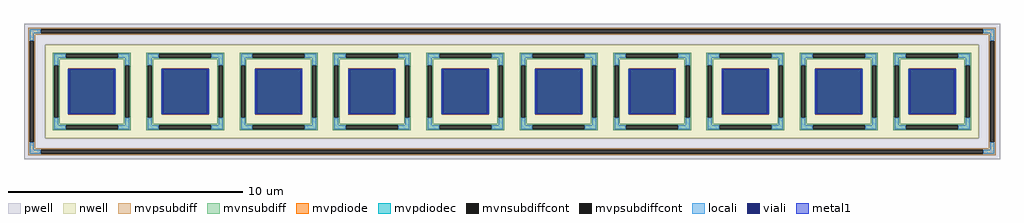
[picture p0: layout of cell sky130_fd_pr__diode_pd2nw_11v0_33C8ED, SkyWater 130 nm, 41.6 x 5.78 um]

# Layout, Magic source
magic
tech sky130A
<< nwell >>
rect -1990 -199 1990 199
<< pwell >>
rect -2080 199 2080 289
rect -2080 -199 -1990 199
rect 1990 -199 2080 199
rect -2080 -289 2080 -199
<< mvpsubdiff >>
rect -2062 265 2062 271
rect -2062 248 -2008 265
rect 2008 248 2062 265
rect -2062 242 2062 248
rect -2062 217 -2033 242
rect -2062 -217 -2056 217
rect -2039 -217 -2033 217
rect 2033 217 2062 242
rect -2062 -242 -2033 -217
rect 2033 -217 2039 217
rect 2056 -217 2062 217
rect 2033 -242 2062 -217
rect -2062 -248 2062 -242
rect -2062 -265 -2008 -248
rect 2008 -265 2062 -248
rect -2062 -271 2062 -265
<< mvnsubdiff >>
rect -1957 160 -1625 166
rect -1957 143 -1903 160
rect -1679 143 -1625 160
rect -1957 137 -1625 143
rect -1957 112 -1928 137
rect -1957 -112 -1951 112
rect -1934 -112 -1928 112
rect -1654 112 -1625 137
rect -1957 -137 -1928 -112
rect -1654 -112 -1648 112
rect -1631 -112 -1625 112
rect -1654 -137 -1625 -112
rect -1957 -143 -1625 -137
rect -1957 -160 -1903 -143
rect -1679 -160 -1625 -143
rect -1957 -166 -1625 -160
rect -1559 160 -1227 166
rect -1559 143 -1505 160
rect -1281 143 -1227 160
rect -1559 137 -1227 143
rect -1559 112 -1530 137
rect -1559 -112 -1553 112
rect -1536 -112 -1530 112
rect -1256 112 -1227 137
rect -1559 -137 -1530 -112
rect -1256 -112 -1250 112
rect -1233 -112 -1227 112
rect -1256 -137 -1227 -112
rect -1559 -143 -1227 -137
rect -1559 -160 -1505 -143
rect -1281 -160 -1227 -143
rect -1559 -166 -1227 -160
rect -1161 160 -829 166
rect -1161 143 -1107 160
rect -883 143 -829 160
rect -1161 137 -829 143
rect -1161 112 -1132 137
rect -1161 -112 -1155 112
rect -1138 -112 -1132 112
rect -858 112 -829 137
rect -1161 -137 -1132 -112
rect -858 -112 -852 112
rect -835 -112 -829 112
rect -858 -137 -829 -112
rect -1161 -143 -829 -137
rect -1161 -160 -1107 -143
rect -883 -160 -829 -143
rect -1161 -166 -829 -160
rect -763 160 -431 166
rect -763 143 -709 160
rect -485 143 -431 160
rect -763 137 -431 143
rect -763 112 -734 137
rect -763 -112 -757 112
rect -740 -112 -734 112
rect -460 112 -431 137
rect -763 -137 -734 -112
rect -460 -112 -454 112
rect -437 -112 -431 112
rect -460 -137 -431 -112
rect -763 -143 -431 -137
rect -763 -160 -709 -143
rect -485 -160 -431 -143
rect -763 -166 -431 -160
rect -365 160 -33 166
rect -365 143 -311 160
rect -87 143 -33 160
rect -365 137 -33 143
rect -365 112 -336 137
rect -365 -112 -359 112
rect -342 -112 -336 112
rect -62 112 -33 137
rect -365 -137 -336 -112
rect -62 -112 -56 112
rect -39 -112 -33 112
rect -62 -137 -33 -112
rect -365 -143 -33 -137
rect -365 -160 -311 -143
rect -87 -160 -33 -143
rect -365 -166 -33 -160
rect 33 160 365 166
rect 33 143 87 160
rect 311 143 365 160
rect 33 137 365 143
rect 33 112 62 137
rect 33 -112 39 112
rect 56 -112 62 112
rect 336 112 365 137
rect 33 -137 62 -112
rect 336 -112 342 112
rect 359 -112 365 112
rect 336 -137 365 -112
rect 33 -143 365 -137
rect 33 -160 87 -143
rect 311 -160 365 -143
rect 33 -166 365 -160
rect 431 160 763 166
rect 431 143 485 160
rect 709 143 763 160
rect 431 137 763 143
rect 431 112 460 137
rect 431 -112 437 112
rect 454 -112 460 112
rect 734 112 763 137
rect 431 -137 460 -112
rect 734 -112 740 112
rect 757 -112 763 112
rect 734 -137 763 -112
rect 431 -143 763 -137
rect 431 -160 485 -143
rect 709 -160 763 -143
rect 431 -166 763 -160
rect 829 160 1161 166
rect 829 143 883 160
rect 1107 143 1161 160
rect 829 137 1161 143
rect 829 112 858 137
rect 829 -112 835 112
rect 852 -112 858 112
rect 1132 112 1161 137
rect 829 -137 858 -112
rect 1132 -112 1138 112
rect 1155 -112 1161 112
rect 1132 -137 1161 -112
rect 829 -143 1161 -137
rect 829 -160 883 -143
rect 1107 -160 1161 -143
rect 829 -166 1161 -160
rect 1227 160 1559 166
rect 1227 143 1281 160
rect 1505 143 1559 160
rect 1227 137 1559 143
rect 1227 112 1256 137
rect 1227 -112 1233 112
rect 1250 -112 1256 112
rect 1530 112 1559 137
rect 1227 -137 1256 -112
rect 1530 -112 1536 112
rect 1553 -112 1559 112
rect 1530 -137 1559 -112
rect 1227 -143 1559 -137
rect 1227 -160 1281 -143
rect 1505 -160 1559 -143
rect 1227 -166 1559 -160
rect 1625 160 1957 166
rect 1625 143 1679 160
rect 1903 143 1957 160
rect 1625 137 1957 143
rect 1625 112 1654 137
rect 1625 -112 1631 112
rect 1648 -112 1654 112
rect 1928 112 1957 137
rect 1625 -137 1654 -112
rect 1928 -112 1934 112
rect 1951 -112 1957 112
rect 1928 -137 1957 -112
rect 1625 -143 1957 -137
rect 1625 -160 1679 -143
rect 1903 -160 1957 -143
rect 1625 -166 1957 -160
<< mvpsubdiffcont >>
rect -2008 248 2008 265
rect -2056 -217 -2039 217
rect 2039 -217 2056 217
rect -2008 -265 2008 -248
<< mvnsubdiffcont >>
rect -1903 143 -1679 160
rect -1951 -112 -1934 112
rect -1648 -112 -1631 112
rect -1903 -160 -1679 -143
rect -1505 143 -1281 160
rect -1553 -112 -1536 112
rect -1250 -112 -1233 112
rect -1505 -160 -1281 -143
rect -1107 143 -883 160
rect -1155 -112 -1138 112
rect -852 -112 -835 112
rect -1107 -160 -883 -143
rect -709 143 -485 160
rect -757 -112 -740 112
rect -454 -112 -437 112
rect -709 -160 -485 -143
rect -311 143 -87 160
rect -359 -112 -342 112
rect -56 -112 -39 112
rect -311 -160 -87 -143
rect 87 143 311 160
rect 39 -112 56 112
rect 342 -112 359 112
rect 87 -160 311 -143
rect 485 143 709 160
rect 437 -112 454 112
rect 740 -112 757 112
rect 485 -160 709 -143
rect 883 143 1107 160
rect 835 -112 852 112
rect 1138 -112 1155 112
rect 883 -160 1107 -143
rect 1281 143 1505 160
rect 1233 -112 1250 112
rect 1536 -112 1553 112
rect 1281 -160 1505 -143
rect 1679 143 1903 160
rect 1631 -112 1648 112
rect 1934 -112 1951 112
rect 1679 -160 1903 -143
<< mvpdiode >>
rect -1891 94 -1691 100
rect -1891 -94 -1885 94
rect -1697 -94 -1691 94
rect -1891 -100 -1691 -94
rect -1493 94 -1293 100
rect -1493 -94 -1487 94
rect -1299 -94 -1293 94
rect -1493 -100 -1293 -94
rect -1095 94 -895 100
rect -1095 -94 -1089 94
rect -901 -94 -895 94
rect -1095 -100 -895 -94
rect -697 94 -497 100
rect -697 -94 -691 94
rect -503 -94 -497 94
rect -697 -100 -497 -94
rect -299 94 -99 100
rect -299 -94 -293 94
rect -105 -94 -99 94
rect -299 -100 -99 -94
rect 99 94 299 100
rect 99 -94 105 94
rect 293 -94 299 94
rect 99 -100 299 -94
rect 497 94 697 100
rect 497 -94 503 94
rect 691 -94 697 94
rect 497 -100 697 -94
rect 895 94 1095 100
rect 895 -94 901 94
rect 1089 -94 1095 94
rect 895 -100 1095 -94
rect 1293 94 1493 100
rect 1293 -94 1299 94
rect 1487 -94 1493 94
rect 1293 -100 1493 -94
rect 1691 94 1891 100
rect 1691 -94 1697 94
rect 1885 -94 1891 94
rect 1691 -100 1891 -94
<< mvpdiodec >>
rect -1885 -94 -1697 94
rect -1487 -94 -1299 94
rect -1089 -94 -901 94
rect -691 -94 -503 94
rect -293 -94 -105 94
rect 105 -94 293 94
rect 503 -94 691 94
rect 901 -94 1089 94
rect 1299 -94 1487 94
rect 1697 -94 1885 94
<< locali >>
rect -2056 248 -2008 265
rect 2008 248 2056 265
rect -2056 217 -2039 248
rect 2039 217 2056 248
rect -1951 143 -1903 160
rect -1679 143 -1631 160
rect -1951 112 -1934 143
rect -1648 112 -1631 143
rect -1893 -94 -1885 94
rect -1697 -94 -1689 94
rect -1951 -143 -1934 -112
rect -1648 -143 -1631 -112
rect -1951 -160 -1903 -143
rect -1679 -160 -1631 -143
rect -1553 143 -1505 160
rect -1281 143 -1233 160
rect -1553 112 -1536 143
rect -1250 112 -1233 143
rect -1495 -94 -1487 94
rect -1299 -94 -1291 94
rect -1553 -143 -1536 -112
rect -1250 -143 -1233 -112
rect -1553 -160 -1505 -143
rect -1281 -160 -1233 -143
rect -1155 143 -1107 160
rect -883 143 -835 160
rect -1155 112 -1138 143
rect -852 112 -835 143
rect -1097 -94 -1089 94
rect -901 -94 -893 94
rect -1155 -143 -1138 -112
rect -852 -143 -835 -112
rect -1155 -160 -1107 -143
rect -883 -160 -835 -143
rect -757 143 -709 160
rect -485 143 -437 160
rect -757 112 -740 143
rect -454 112 -437 143
rect -699 -94 -691 94
rect -503 -94 -495 94
rect -757 -143 -740 -112
rect -454 -143 -437 -112
rect -757 -160 -709 -143
rect -485 -160 -437 -143
rect -359 143 -311 160
rect -87 143 -39 160
rect -359 112 -342 143
rect -56 112 -39 143
rect -301 -94 -293 94
rect -105 -94 -97 94
rect -359 -143 -342 -112
rect -56 -143 -39 -112
rect -359 -160 -311 -143
rect -87 -160 -39 -143
rect 39 143 87 160
rect 311 143 359 160
rect 39 112 56 143
rect 342 112 359 143
rect 97 -94 105 94
rect 293 -94 301 94
rect 39 -143 56 -112
rect 342 -143 359 -112
rect 39 -160 87 -143
rect 311 -160 359 -143
rect 437 143 485 160
rect 709 143 757 160
rect 437 112 454 143
rect 740 112 757 143
rect 495 -94 503 94
rect 691 -94 699 94
rect 437 -143 454 -112
rect 740 -143 757 -112
rect 437 -160 485 -143
rect 709 -160 757 -143
rect 835 143 883 160
rect 1107 143 1155 160
rect 835 112 852 143
rect 1138 112 1155 143
rect 893 -94 901 94
rect 1089 -94 1097 94
rect 835 -143 852 -112
rect 1138 -143 1155 -112
rect 835 -160 883 -143
rect 1107 -160 1155 -143
rect 1233 143 1281 160
rect 1505 143 1553 160
rect 1233 112 1250 143
rect 1536 112 1553 143
rect 1291 -94 1299 94
rect 1487 -94 1495 94
rect 1233 -143 1250 -112
rect 1536 -143 1553 -112
rect 1233 -160 1281 -143
rect 1505 -160 1553 -143
rect 1631 143 1679 160
rect 1903 143 1951 160
rect 1631 112 1648 143
rect 1934 112 1951 143
rect 1689 -94 1697 94
rect 1885 -94 1893 94
rect 1631 -143 1648 -112
rect 1934 -143 1951 -112
rect 1631 -160 1679 -143
rect 1903 -160 1951 -143
rect -2056 -248 -2039 -217
rect 2039 -248 2056 -217
rect -2056 -265 -2008 -248
rect 2008 -265 2056 -248
<< viali >>
rect -1885 -94 -1697 94
rect -1487 -94 -1299 94
rect -1089 -94 -901 94
rect -691 -94 -503 94
rect -293 -94 -105 94
rect 105 -94 293 94
rect 503 -94 691 94
rect 901 -94 1089 94
rect 1299 -94 1487 94
rect 1697 -94 1885 94
<< metal1 >>
rect -1891 94 -1691 97
rect -1891 -94 -1885 94
rect -1697 -94 -1691 94
rect -1891 -97 -1691 -94
rect -1493 94 -1293 97
rect -1493 -94 -1487 94
rect -1299 -94 -1293 94
rect -1493 -97 -1293 -94
rect -1095 94 -895 97
rect -1095 -94 -1089 94
rect -901 -94 -895 94
rect -1095 -97 -895 -94
rect -697 94 -497 97
rect -697 -94 -691 94
rect -503 -94 -497 94
rect -697 -97 -497 -94
rect -299 94 -99 97
rect -299 -94 -293 94
rect -105 -94 -99 94
rect -299 -97 -99 -94
rect 99 94 299 97
rect 99 -94 105 94
rect 293 -94 299 94
rect 99 -97 299 -94
rect 497 94 697 97
rect 497 -94 503 94
rect 691 -94 697 94
rect 497 -97 697 -94
rect 895 94 1095 97
rect 895 -94 901 94
rect 1089 -94 1095 94
rect 895 -97 1095 -94
rect 1293 94 1493 97
rect 1293 -94 1299 94
rect 1487 -94 1493 94
rect 1293 -97 1493 -94
rect 1691 94 1891 97
rect 1691 -94 1697 94
rect 1885 -94 1891 94
rect 1691 -97 1891 -94
<< properties >>
string FIXED_BBOX 1639 -151 1942 151
string gencell sky130_fd_pr__diode_pd2nw_11v0
string library sky130
string parameters w 2 l 2 area 4.0 peri 8.0 nx 10 ny 1 dummy 0 lmin 0.45 wmin 0.45 elc 1 erc 1 etc 1 ebc 1 glc 1 grc 1 gtc 1 gbc 1 doverlap 0 compatible {sky130_fd_pr__diode_pd2nw_05v5 sky130_fd_pr__diode_pd2nw_05v5_lvt  sky130_fd_pr__diode_pd2nw_05v5_hvt sky130_fd_pr__diode_pd2nw_11v0} full_metal 1 vias 1 viagb 0 viagt 0 viagl 0 viagr 0
<< end >>
